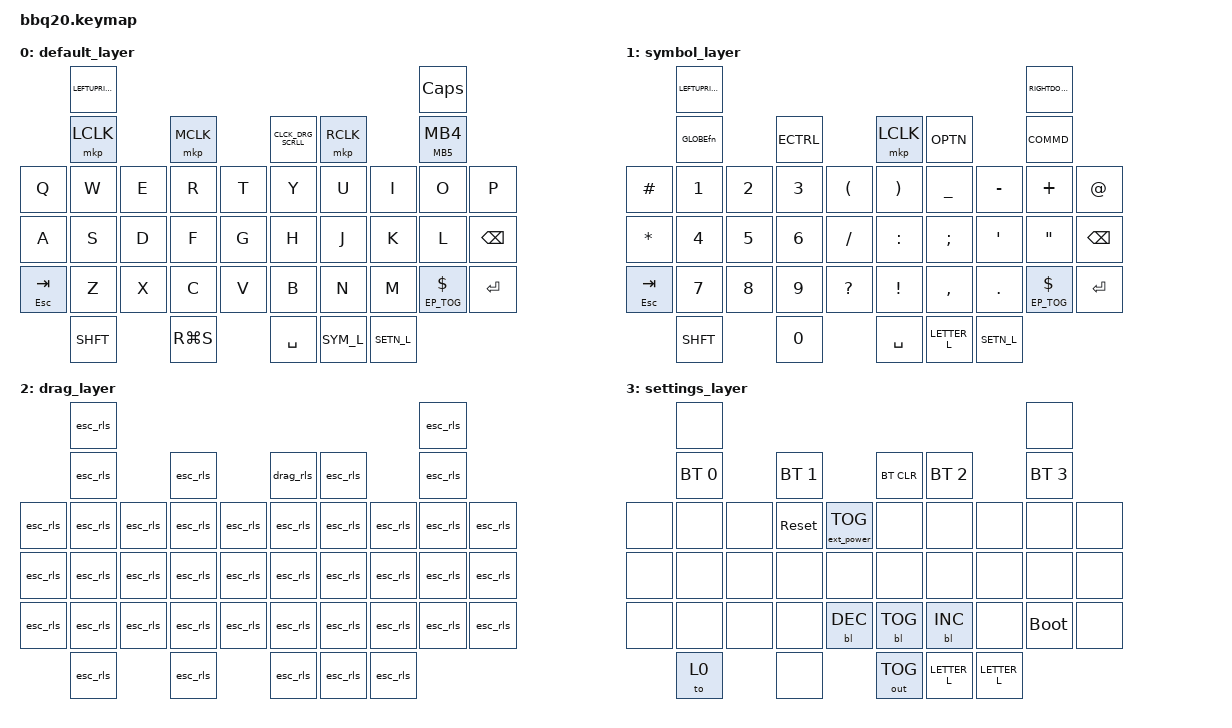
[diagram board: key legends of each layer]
 /*
 * Copyright (c) 2023 ZitaoTech
 * "BlueBerry" iOS Layout by Drexel Macintosh 
 * macOS design by SU
 * SPDX-License-Identifier: MIT
 */
#include <behaviors.dtsi>
#include <dt-bindings/zmk/keys.h>
#include <dt-bindings/zmk/bt.h>
#include <dt-bindings/zmk/outputs.h>
#include <dt-bindings/zmk/mouse.h>
#include <dt-bindings/zmk/backlight.h>
#include <dt-bindings/zmk/ext_power.h>
 
#define SYM 1
#define DRAG 2
#define SETTINGS 3

// Standard Behavior Configurations:

&mt {
    flavor = "tap-preferred";
    tapping-term-ms = <200>;
    };

&sk{
    release-after-ms = <2500>;
    };

&sl {
    release-after-ms = <2500>;
    };

/ {

//Behaviors Start Here:

    behaviors {

// Tap Dance Behaviors

        SHFT: tap_dance_0 {
            compatible = "zmk,behavior-tap-dance";
            #binding-cells = <0>;
            tapping-term-ms = <300>;
            bindings = <&sk LSHFT>, <&caps_word>;
        };

        OPTN: tap_dance_1 {
            compatible = "zmk,behavior-tap-dance";
            #binding-cells = <0>;
            tapping-term-ms = <300>;
            bindings = <&sk LALT>, <&kp LALT>;
        };

        ECTRL: tap_dance_2 {
            compatible = "zmk,behavior-tap-dance";
            #binding-cells = <0>;
            tapping-term-ms = <300>;
            bindings = <&sk LCTRL>, <&kp LCTRL>;
        };

        COMMD: tap_dance_3 {
            compatible = "zmk,behavior-tap-dance";
            #binding-cells = <0>;
            tapping-term-ms = <300>;
            bindings = <&sk LGUI>, <&kp LGUI>;
        };

        GLOBEfn: tap_dance_4 {
            compatible = "zmk,behavior-tap-dance";
            #binding-cells = <0>;
            tapping-term-ms = <300>;
            bindings = <&sk RGUI>, <&kp RGUI>;
	// in Karabiner on macOS change right CMD to GLOBE ie Fn
        };

        LEFTUPRIGHTDOWN: tap_dance_5 {
            compatible = "zmk,behavior-tap-dance";
            #binding-cells = <0>;
            tapping-term-ms = <250>;
            bindings = <&kp LEFT_ARROW>, <&kp UP_ARROW>, <&kp RIGHT_ARROW>, <&kp DOWN_ARROW>;
        };

        RIGHTDOWNLEFTUP: tap_dance_6 {
            compatible = "zmk,behavior-tap-dance";
            #binding-cells = <0>;
            tapping-term-ms = <250>;
            bindings = <&kp RIGHT_ARROW>, <&kp DOWN_ARROW>, <&kp LEFT_ARROW>, <&kp UP_ARROW>;
        };

        SYM_L: tap_dance_7 {
            compatible = "zmk,behavior-tap-dance";
            #binding-cells = <0>;
            tapping-term-ms = <300>;
            bindings = <&sl SYM>, <&to SYM>;
        };

        SETN_L: tap_dance_8 {
            compatible = "zmk,behavior-tap-dance";
            #binding-cells = <0>;
            tapping-term-ms = <250>;
            bindings = <&to 0>, <&to SETTINGS>;
        };

        LETTER_L: tap_dance_9 {
            compatible = "zmk,behavior-tap-dance";
            #binding-cells = <0>;
            tapping-term-ms = <250>;
            bindings = <&to 0>, <&to 0>;
        };

        CLCK_DRG_SCRLL: tap_dance_10 {
            compatible = "zmk,behavior-tap-dance";
            #binding-cells = <0>;
            tapping-term-ms = <250>;
            bindings = <&mdrag_clk 0 LCLK>, <&dblclk>, <&kp CAPS>;
        };


// Macro Behaviors

    	tap: tap {
      	    compatible = "zmk,behavior-macro-one-param";
            #binding-cells = <1>;
            bindings = <&macro_param_1to1 &kp MACRO_PLACEHOLDER>;
   	 };

    	dblclk: dblclk {
            compatible = "zmk,behavior-macro";
            #binding-cells = <0>;
            bindings 
		= <&macro_tap &mkp LCLK>
		, <&macro_tap &mkp LCLK>;
   	 };

        drag_prs: drag_prs {
            compatible = "zmk,behavior-macro";
            #binding-cells = <0>;
            bindings
                = <&macro_press &mkp LCLK &mo 2>
                , <&macro_pause_for_release>;
        }; 
	
	drag_rls: drag_rls {
            compatible = "zmk,behavior-macro";
            #binding-cells = <0>;
            bindings
                = <&macro_release &mkp LCLK &mo 2>;
        };

	esc_rls: esc_rls {
            compatible = "zmk,behavior-macro";
            #binding-cells = <0>;
            bindings
                = <&macro_tap &kp ESC>
		, <&macro_release &mkp LCLK &mo 2>;
        };

// Hold Tap Behaviors

  	mtt: mod_tap_tap {
		compatible = "zmk,behavior-hold-tap";
		#binding-cells = <2>;
	     	flavor = "tap-preferred";
	      	tapping-term-ms = <200>;
	      	quick-tap-ms = <125>;
	      	require-prior-idle-ms = <125>;
	      	bindings = <&tap>, <&tap>;
   	 };

        hm2: homerow_mods_2 {
            compatible = "zmk,behavior-hold-tap";
            #binding-cells = <2>;
            tapping-term-ms = <500>;
            bindings = <&ext_power &kp>;
        };

        mou: mod_mouse {
            compatible = "zmk,behavior-hold-tap";
            #binding-cells = <2>;
            flavor = "tap-preferred";
            tapping-term-ms = <200>;
            quick-tap-ms = <125>;
            require-prior-idle-ms = <125>;
            bindings = <&mkp >, <&mkp >;
        };

        mdrag_clk: behavior_mdrag_clk {
            compatible = "zmk,behavior-hold-tap";
            #binding-cells = <2>;
            flavor = "tap-preferred";
            tapping-term-ms = <200>;
            quick-tap-ms = <125>;
            bindings = <&drag_prs>, <&mkp>;
        };


//End Behaviors here
    };

    keymap {
        compatible = "zmk,keymap";
        default_layer {
            bindings = <

        /*
         *    KEYBOARD LAYOUT - ASCII by KyleBing
         *
                              ---------------------                                                                -------------------------
                             |    Shoulder Key1    |                                                              |      Shoulder Key2      |
                 ---------------------------------------------------------------------------------------------------------------------------------------------------
                |        Call key        |   Blackberry Key    |              Trackpad            |             Back Key           |          Endcall Key           |
                -----------------------------------------------------------------------------------------------------------------------------------------------------
                |     Q      |     W     |     E    |     R    |         T       |       Y        |        U       |       I       |        O        |      P       |
                -----------------------------------------------------------------------------------------------------------------------------------------------------
                |     A      |     S     |     D    |     F    |         G       |       H        |        J       |       K       |        L        |      ←       |
                -----------------------------------------------------------------------------------------------------------------------------------------------------
                 \    alt    |     Z     |     X    |     C    |         V       |       B        |        N       |       M       |        $        |    Enter    /
                   -----------------------------------------------------------------------------------------------------------------------------------------------
                              \      aA        |       0        |                    SPACE                  |          SYM          |         aA    /
                                -------------------------------------------------------------------------------------------------------------------
        */
                 		&LEFTUPRIGHTDOWN									&kp CAPS 

		        &mkp  LCLK			&mkp MCLK		&CLCK_DRG_SCRLL			&mkp RCLK		 	&mou MB5 MB4

    &kp Q		&kp W      	  &kp E		&kp R     	&kp T		&kp Y		&kp U		&kp I		&kp O		     &kp P
    &kp A		&kp S      	  &kp D		&kp F     	&kp G		&kp H		&kp J		&kp K		&kp L         	     &kp BSPC
    &mtt ESC TAB	&kp Z      	  &kp X		&kp C	     	&kp V		&kp B		&kp N		&kp M		&hm2 EP_TOG DOLLAR   &kp ENTER

    		         &SHFT				 &kp RG(S) 			&kp SPACE		&SYM_L				&SETN_L

            >;
        };


        symbol_layer {

            bindings = <        
                		&LEFTUPRIGHTDOWN                                                                 	&RIGHTDOWNLEFTUP

    	         	&GLOBEfn    			 &ECTRL		      	&mkp LCLK			&OPTN	 	     		&COMMD

    &kp HASH	   	&kp N1		   &kp N2	 &kp N3		&kp LPAR	&kp RPAR	&kp UNDER     	&kp MINUS	&kp PLUS	      &kp AT
    &kp STAR		&kp N4	   	   &kp N5	 &kp N6	 	&kp SLASH	&kp COLON	&kp SEMI	&kp APOS	&kp DQT     	      &kp BSPC
    &mtt ESC TAB      	&kp N7		   &kp N8	 &kp N9	   	&kp QMARK	&kp EXCL	&kp COMMA 	&kp DOT		&hm2 EP_TOG DOLLAR   &kp ENTER
		
    		         &SHFT				 &kp N0 		     	&kp SPACE		&LETTER_L		 	&SETN_L


            >;
        };

        drag_layer {

            bindings = <        

				&esc_rls										&esc_rls
 
    			&esc_rls			 &esc_rls		&drag_rls			&esc_rls			&esc_rls  

    &esc_rls		&esc_rls     	&esc_rls         &esc_rls  	&esc_rls	&esc_rls	&esc_rls    	&esc_rls 	 &esc_rls	      &esc_rls
    &esc_rls	     	&esc_rls   	&esc_rls      	 &esc_rls   	&esc_rls	&esc_rls      	&esc_rls    	&esc_rls    	 &esc_rls	      &esc_rls
    &esc_rls	 	&esc_rls     	&esc_rls    	 &esc_rls    	&esc_rls     	&esc_rls	&esc_rls  	&esc_rls       	 &esc_rls             &esc_rls
	
    			&esc_rls			 &esc_rls			&esc_rls		&esc_rls			&esc_rls
            >;
        };

        settings_layer {

            bindings = <        

				&none											&none

    			&bt BT_SEL 0            	 &bt BT_SEL 1            &bt BT_CLR               	&bt BT_SEL 2             	&bt BT_SEL 3

    &none       	&none   	&none     	&sys_reset	&ext_power EP_TOG	   &none         	&none	           &none           &none      	   &none
    &none   		&none	  	&none	 	&none     	&none	          	   &none     	 	&none	           &none	   &none      	   &none
    &none  		&none    	&none    	&none		&bl BL_DEC       	   &bl BL_TOG   	&bl BL_INC         &none           &bootloader     &none

    			&to  0               		 &none	               	     	&out OUT_TOG        	&LETTER_L              		&LETTER_L

            >;
        };
    };
};
